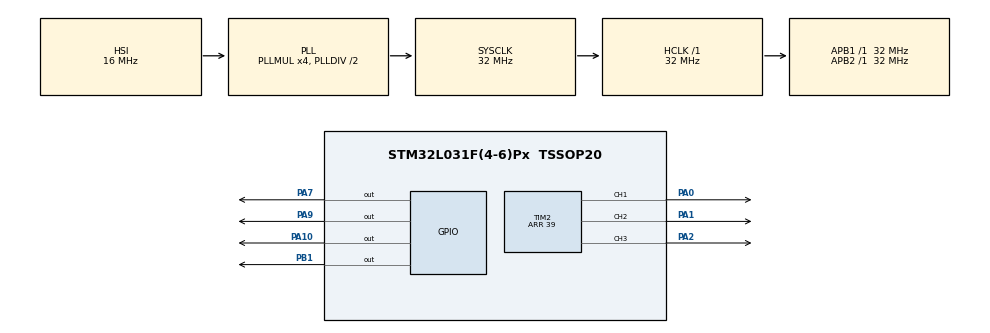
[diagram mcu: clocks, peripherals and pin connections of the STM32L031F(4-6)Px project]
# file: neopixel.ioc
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Dma.Request0=TIM2_CH1
Dma.Request1=TIM2_CH2
Dma.Request2=TIM2_CH3
Dma.TIM2_CH1.0.Direction=DMA_MEMORY_TO_PERIPH
Dma.TIM2_CH1.0.Instance=DMA1_Channel5
Dma.TIM2_CH1.0.MemDataAlignment=DMA_MDATAALIGN_BYTE
Dma.TIM2_CH1.0.MemInc=DMA_MINC_ENABLE
Dma.TIM2_CH1.0.Mode=DMA_CIRCULAR
Dma.TIM2_CH1.0.PeriphDataAlignment=DMA_PDATAALIGN_HALFWORD
Dma.TIM2_CH1.0.PeriphInc=DMA_PINC_DISABLE
Dma.TIM2_CH1.0.Priority=DMA_PRIORITY_LOW
Dma.TIM2_CH2.1.Direction=DMA_MEMORY_TO_PERIPH
Dma.TIM2_CH2.1.Instance=DMA1_Channel3
Dma.TIM2_CH2.1.MemDataAlignment=DMA_MDATAALIGN_BYTE
Dma.TIM2_CH2.1.MemInc=DMA_MINC_ENABLE
Dma.TIM2_CH2.1.Mode=DMA_CIRCULAR
Dma.TIM2_CH2.1.PeriphDataAlignment=DMA_PDATAALIGN_HALFWORD
Dma.TIM2_CH2.1.PeriphInc=DMA_PINC_DISABLE
Dma.TIM2_CH2.1.Priority=DMA_PRIORITY_LOW
Dma.TIM2_CH3.2.Direction=DMA_MEMORY_TO_PERIPH
Dma.TIM2_CH3.2.Instance=DMA1_Channel1
Dma.TIM2_CH3.2.MemDataAlignment=DMA_MDATAALIGN_BYTE
Dma.TIM2_CH3.2.MemInc=DMA_MINC_ENABLE
Dma.TIM2_CH3.2.Mode=DMA_CIRCULAR
Dma.TIM2_CH3.2.PeriphDataAlignment=DMA_PDATAALIGN_HALFWORD
Dma.TIM2_CH3.2.PeriphInc=DMA_PINC_DISABLE
Dma.TIM2_CH3.2.Priority=DMA_PRIORITY_LOW
Mcu.Family=STM32L0
Mcu.Name=STM32L031F(4-6)Px
Mcu.Package=TSSOP20
NVIC.DMA1_Channel1_IRQn=true\:0\:0\:false\:false\:true\:false\:true
NVIC.DMA1_Channel2_3_IRQn=true\:0\:0\:false\:false\:true\:false\:true
NVIC.DMA1_Channel4_5_6_7_IRQn=true\:0\:0\:false\:false\:true\:false\:true
PA0-CK_IN.Signal=S_TIM2_CH1
PA1.Signal=S_TIM2_CH2
PA10.Signal=GPIO_Output
PA13.Mode=Serial_Wire
PA13.Signal=SYS_SWDIO
PA14.Mode=Serial_Wire
PA14.Signal=SYS_SWCLK
PA2.Signal=S_TIM2_CH3
PA7.Signal=GPIO_Output
PA9.Signal=GPIO_Output
PB1.Signal=GPIO_Output
ProjectManager.HeapSize=0x200
ProjectManager.StackSize=0x400
ProjectManager.TargetToolchain=STM32CubeIDE
RCC.AHBFreq_Value=32000000
RCC.APB1Freq_Value=32000000
RCC.APB1TimFreq_Value=32000000
RCC.APB2Freq_Value=32000000
RCC.APB2TimFreq_Value=32000000
RCC.HCLKFreq_Value=32000000
RCC.HSE_VALUE=8000000
RCC.HSI16_VALUE=16000000
RCC.HSI_VALUE=16000000
RCC.LSE_VALUE=32768
RCC.MSI_VALUE=2097000
RCC.PLLMUL=RCC_PLLMUL_4
RCC.SYSCLKFreq_VALUE=32000000
RCC.SYSCLKSource=RCC_SYSCLKSOURCE_PLLCLK
RCC.VCOOutputFreq_Value=64000000
SH.S_TIM2_CH1.0=TIM2_CH1,PWM Generation1 CH1
SH.S_TIM2_CH2.0=TIM2_CH2,PWM Generation2 CH2
SH.S_TIM2_CH3.0=TIM2_CH3,PWM Generation3 CH3
TIM2.AutoReloadPreload=TIM_AUTORELOAD_PRELOAD_ENABLE
TIM2.Channel-PWM\ Generation1\ CH1=TIM_CHANNEL_1
TIM2.Channel-PWM\ Generation2\ CH2=TIM_CHANNEL_2
TIM2.Channel-PWM\ Generation3\ CH3=TIM_CHANNEL_3
TIM2.Period=39
VP_TIM2_VS_ClockSourceINT.Mode=Internal
board=custom

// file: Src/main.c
/* USER CODE BEGIN Header */
/**
  ******************************************************************************
  * @file           : main.c
  * @brief          : Main program body
  ******************************************************************************
  * @attention
  *
  * <h2><center>&copy; Copyright (c) 2019 STMicroelectronics.
  * All rights reserved.</center></h2>
  *
  * This software component is licensed by ST under BSD 3-Clause license,
  * the "License"; You may not use this file except in compliance with the
  * License. You may obtain a copy of the License at:
  *                        opensource.org/licenses/BSD-3-Clause
  *
  ******************************************************************************
  */
/* USER CODE END Header */

#include "main.h"

TIM_HandleTypeDef htim2;
DMA_HandleTypeDef hdma_tim2_ch1;
DMA_HandleTypeDef hdma_tim2_ch2;
DMA_HandleTypeDef hdma_tim2_ch3;

/* USER CODE BEGIN PV */

uint8_t buffer[70+32] = {0,};

/* USER CODE END PV */

void SystemClock_Config(void);
static void MX_GPIO_Init(void);
static void MX_DMA_Init(void);
static void MX_TIM2_Init(void);
/* USER CODE BEGIN PFP */

void set_mood(uint8_t red, uint8_t green, uint8_t blue, uint8_t white);
/* USER CODE END PFP */

int main(void)
{

  /* MCU Configuration--------------------------------------------------------*/

  /* Reset of all peripherals, Initializes the Flash interface and the Systick. */
  HAL_Init();

  /* Configure the system clock */
  SystemClock_Config();

  /* Initialize all configured peripherals */
  MX_GPIO_Init();
  MX_DMA_Init();
  MX_TIM2_Init();
  /* USER CODE BEGIN 2 */

  for(int i = 0 ; i < sizeof(buffer); i++)
  {
	  if(i < 70)
		  buffer[i] = 40;
	  else
		  buffer[i] = 11;
  }
  HAL_TIM_PWM_Start_DMA(&htim2, TIM_CHANNEL_2, (uint32_t *)buffer, sizeof(buffer));

  uint32_t nowtick = 0;
  uint32_t pasttick = 0;

  HAL_GPIO_WritePin(GPIOA, GPIO_PIN_9, GPIO_PIN_SET);
  HAL_GPIO_WritePin(GPIOA, GPIO_PIN_10, GPIO_PIN_SET);

  uint8_t rflag = 0;
  uint8_t gflag = 0;
  uint8_t bflag = 0;
  uint8_t wflag = 0;

  uint8_t rrrrrrrr = 0;
  uint8_t gggggggg = 0;
  uint8_t bbbbbbbb = 0;
  uint8_t wwwwwwww = 0;
  /* USER CODE END 2 */

  /* Infinite loop */
  while (1)
  {

    /* USER CODE BEGIN 3 */
	  nowtick = HAL_GetTick();

	  if(nowtick - pasttick > 50)
	  {
		  if(!rflag)
			  rrrrrrrr++;
		  else
			  rrrrrrrr--;
		  if(!gflag)
			  gggggggg+=2;
		  else
			  gggggggg-=2;
		  if(!bflag)
			  bbbbbbbb+=3;
		  else
			  bbbbbbbb-=3;
		  if(!wflag)
			  wwwwwwww+=6;
		  else
			  wwwwwwww-=6;

		  if(rrrrrrrr > 250)
			  rflag = 1;
		  else if(rrrrrrrr < 10)
			  rflag = 0;
		  if(gggggggg > 250)
			  gflag = 1;
		  else if(gggggggg < 10)
			  gflag = 0;
		  if(bbbbbbbb > 250)
			  bflag = 1;
		  else if(bbbbbbbb < 10)
			  bflag = 0;
		  if(wwwwwwww > 240)
			  wflag = 1;
		  else if(wwwwwwww < 20)
			  wflag = 0;
		  set_mood(rrrrrrrr,gggggggg,bbbbbbbb,0);
		  HAL_GPIO_TogglePin(GPIOB, GPIO_PIN_1);
		  pasttick = nowtick;
	  }
  }
  /* USER CODE END 3 */
}

void SystemClock_Config(void)
{
  RCC_OscInitTypeDef RCC_OscInitStruct = {0};
  RCC_ClkInitTypeDef RCC_ClkInitStruct = {0};

  /** Configure the main internal regulator output voltage
  */
  __HAL_PWR_VOLTAGESCALING_CONFIG(PWR_REGULATOR_VOLTAGE_SCALE1);
  /** Initializes the CPU, AHB and APB busses clocks
  */
  RCC_OscInitStruct.OscillatorType = RCC_OSCILLATORTYPE_HSI;
  RCC_OscInitStruct.HSIState = RCC_HSI_ON;
  RCC_OscInitStruct.HSICalibrationValue = RCC_HSICALIBRATION_DEFAULT;
  RCC_OscInitStruct.PLL.PLLState = RCC_PLL_ON;
  RCC_OscInitStruct.PLL.PLLSource = RCC_PLLSOURCE_HSI;
  RCC_OscInitStruct.PLL.PLLMUL = RCC_PLLMUL_4;
  RCC_OscInitStruct.PLL.PLLDIV = RCC_PLLDIV_2;
  if (HAL_RCC_OscConfig(&RCC_OscInitStruct) != HAL_OK)
  {
    Error_Handler();
  }
  /** Initializes the CPU, AHB and APB busses clocks
  */
  RCC_ClkInitStruct.ClockType = RCC_CLOCKTYPE_HCLK|RCC_CLOCKTYPE_SYSCLK
                              |RCC_CLOCKTYPE_PCLK1|RCC_CLOCKTYPE_PCLK2;
  RCC_ClkInitStruct.SYSCLKSource = RCC_SYSCLKSOURCE_PLLCLK;
  RCC_ClkInitStruct.AHBCLKDivider = RCC_SYSCLK_DIV1;
  RCC_ClkInitStruct.APB1CLKDivider = RCC_HCLK_DIV1;
  RCC_ClkInitStruct.APB2CLKDivider = RCC_HCLK_DIV1;

  if (HAL_RCC_ClockConfig(&RCC_ClkInitStruct, FLASH_LATENCY_1) != HAL_OK)
  {
    Error_Handler();
  }
}

static void MX_TIM2_Init(void)
{

  TIM_ClockConfigTypeDef sClockSourceConfig = {0};
  TIM_MasterConfigTypeDef sMasterConfig = {0};
  TIM_OC_InitTypeDef sConfigOC = {0};

  htim2.Instance = TIM2;
  htim2.Init.Prescaler = 0;
  htim2.Init.CounterMode = TIM_COUNTERMODE_UP;
  htim2.Init.Period = 39;
  htim2.Init.ClockDivision = TIM_CLOCKDIVISION_DIV1;
  htim2.Init.AutoReloadPreload = TIM_AUTORELOAD_PRELOAD_ENABLE;
  if (HAL_TIM_Base_Init(&htim2) != HAL_OK)
  {
    Error_Handler();
  }
  sClockSourceConfig.ClockSource = TIM_CLOCKSOURCE_INTERNAL;
  if (HAL_TIM_ConfigClockSource(&htim2, &sClockSourceConfig) != HAL_OK)
  {
    Error_Handler();
  }
  if (HAL_TIM_PWM_Init(&htim2) != HAL_OK)
  {
    Error_Handler();
  }
  sMasterConfig.MasterOutputTrigger = TIM_TRGO_RESET;
  sMasterConfig.MasterSlaveMode = TIM_MASTERSLAVEMODE_DISABLE;
  if (HAL_TIMEx_MasterConfigSynchronization(&htim2, &sMasterConfig) != HAL_OK)
  {
    Error_Handler();
  }
  sConfigOC.OCMode = TIM_OCMODE_PWM1;
  sConfigOC.Pulse = 0;
  sConfigOC.OCPolarity = TIM_OCPOLARITY_HIGH;
  sConfigOC.OCFastMode = TIM_OCFAST_DISABLE;
  if (HAL_TIM_PWM_ConfigChannel(&htim2, &sConfigOC, TIM_CHANNEL_1) != HAL_OK)
  {
    Error_Handler();
  }
  if (HAL_TIM_PWM_ConfigChannel(&htim2, &sConfigOC, TIM_CHANNEL_2) != HAL_OK)
  {
    Error_Handler();
  }
  if (HAL_TIM_PWM_ConfigChannel(&htim2, &sConfigOC, TIM_CHANNEL_3) != HAL_OK)
  {
    Error_Handler();
  }
  HAL_TIM_MspPostInit(&htim2);

}

static void MX_DMA_Init(void)
{
  /* DMA controller clock enable */
  __HAL_RCC_DMA1_CLK_ENABLE();

  /* DMA interrupt init */
  /* DMA1_Channel1_IRQn interrupt configuration */
  HAL_NVIC_SetPriority(DMA1_Channel1_IRQn, 0, 0);
  HAL_NVIC_EnableIRQ(DMA1_Channel1_IRQn);
  /* DMA1_Channel2_3_IRQn interrupt configuration */
  HAL_NVIC_SetPriority(DMA1_Channel2_3_IRQn, 0, 0);
  HAL_NVIC_EnableIRQ(DMA1_Channel2_3_IRQn);
  /* DMA1_Channel4_5_6_7_IRQn interrupt configuration */
  HAL_NVIC_SetPriority(DMA1_Channel4_5_6_7_IRQn, 0, 0);
  HAL_NVIC_EnableIRQ(DMA1_Channel4_5_6_7_IRQn);

}

static void MX_GPIO_Init(void)
{
  GPIO_InitTypeDef GPIO_InitStruct = {0};

  /* GPIO Ports Clock Enable */
  __HAL_RCC_GPIOA_CLK_ENABLE();
  __HAL_RCC_GPIOB_CLK_ENABLE();

  /*Configure GPIO pin Output Level */
  HAL_GPIO_WritePin(GPIOA, GPIO_PIN_7|GPIO_PIN_9|GPIO_PIN_10, GPIO_PIN_RESET);

  /*Configure GPIO pin Output Level */
  HAL_GPIO_WritePin(GPIOB, GPIO_PIN_1, GPIO_PIN_RESET);

  /*Configure GPIO pins : PA7 PA9 PA10 */
  GPIO_InitStruct.Pin = GPIO_PIN_7|GPIO_PIN_9|GPIO_PIN_10;
  GPIO_InitStruct.Mode = GPIO_MODE_OUTPUT_PP;
  GPIO_InitStruct.Pull = GPIO_NOPULL;
  GPIO_InitStruct.Speed = GPIO_SPEED_FREQ_LOW;
  HAL_GPIO_Init(GPIOA, &GPIO_InitStruct);

  /*Configure GPIO pin : PB1 */
  GPIO_InitStruct.Pin = GPIO_PIN_1;
  GPIO_InitStruct.Mode = GPIO_MODE_OUTPUT_PP;
  GPIO_InitStruct.Pull = GPIO_NOPULL;
  GPIO_InitStruct.Speed = GPIO_SPEED_FREQ_LOW;
  HAL_GPIO_Init(GPIOB, &GPIO_InitStruct);

}

/* USER CODE BEGIN 4 */
void set_mood(uint8_t red, uint8_t green, uint8_t blue, uint8_t white)
{
	for(int i = 0; i < 8 ; i++)
	{
		if((red >> i) & 0x01)
			buffer[69+8-i] = 11;
		else
			buffer[69+8-i] = 30;
		if((green >> i) & 0x01)
			buffer[69+16-i] = 11;
		else
			buffer[69+16-i] = 30;
		if((green >> i) & 0x01)
			buffer[69+24-i] = 11;
		else
			buffer[69+24-i] = 30;
		if((white >> i) & 0x01)
			buffer[69+32-i] = 11;
		else
			buffer[69+32-i] = 30;
	}
}
/* USER CODE END 4 */

void Error_Handler(void)
{
}

/************************ (C) COPYRIGHT STMicroelectronics *****END OF FILE****/
